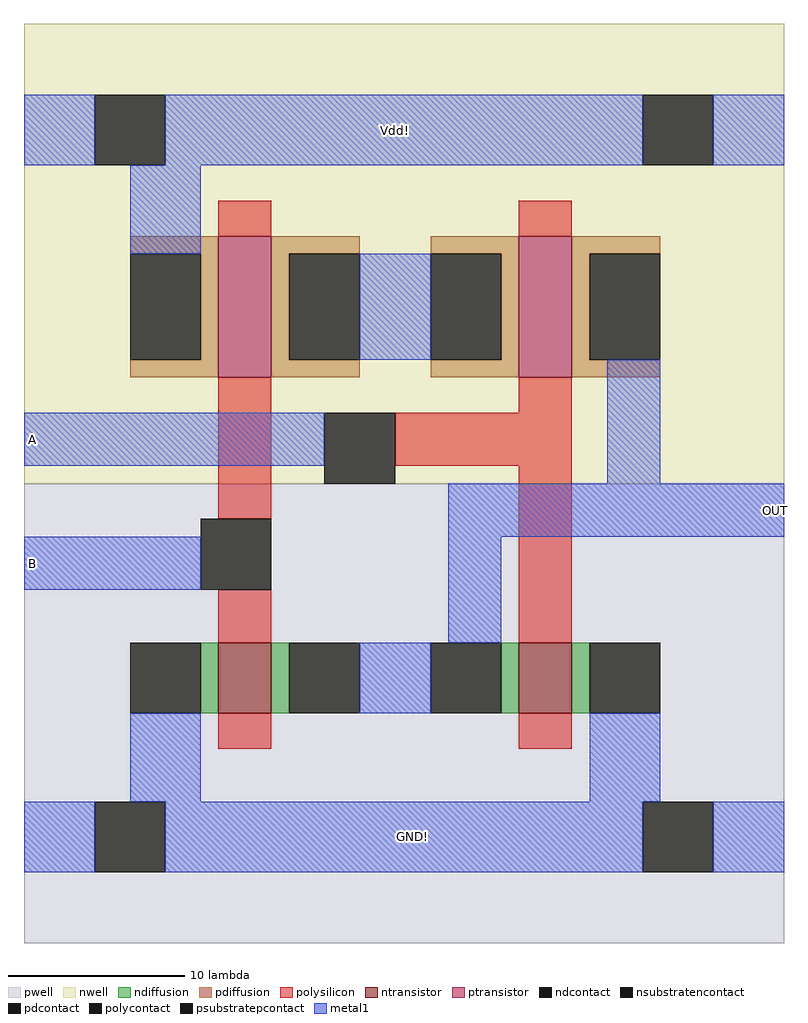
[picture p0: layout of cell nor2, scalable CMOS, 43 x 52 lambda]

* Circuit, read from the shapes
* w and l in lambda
.subckt nor2 A B GND! OUT Vdd!
M1 OUT B GND! GND! nfet w=4 l=3
M2 GND! A OUT GND! nfet w=4 l=3
M3 n1 B Vdd! Vdd! pfet w=8 l=3
M4 OUT A n1 Vdd! pfet w=8 l=3
.ends

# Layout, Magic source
magic
tech scmos
<< pwell >>
rect 0 0 43 26
<< nwell >>
rect 0 26 43 52
<< polysilicon >>
rect 11 40 14 42
rect 28 40 31 42
rect 11 24 14 32
rect 28 30 31 32
rect 21 27 31 30
rect 11 17 14 20
rect 28 17 31 27
rect 11 11 14 13
rect 28 11 31 13
<< ndiffusion >>
rect 10 13 11 17
rect 14 13 15 17
rect 27 13 28 17
rect 31 13 32 17
<< pdiffusion >>
rect 6 39 11 40
rect 10 33 11 39
rect 6 32 11 33
rect 14 39 19 40
rect 14 33 15 39
rect 14 32 19 33
rect 23 39 28 40
rect 27 33 28 39
rect 23 32 28 33
rect 31 39 36 40
rect 31 33 32 39
rect 31 32 36 33
<< metal1 >>
rect 0 44 4 48
rect 8 44 35 48
rect 39 44 43 48
rect 6 39 10 44
rect 19 33 23 39
rect 0 27 17 30
rect 33 26 36 33
rect 0 20 10 23
rect 24 23 43 26
rect 24 17 27 23
rect 19 13 23 17
rect 6 8 10 13
rect 32 8 36 13
rect 0 4 4 8
rect 8 4 35 8
rect 39 4 43 8
<< ntransistor >>
rect 11 13 14 17
rect 28 13 31 17
<< ptransistor >>
rect 11 32 14 40
rect 28 32 31 40
<< polycontact >>
rect 17 26 21 30
rect 10 20 14 24
<< ndcontact >>
rect 6 13 10 17
rect 15 13 19 17
rect 23 13 27 17
rect 32 13 36 17
<< pdcontact >>
rect 6 33 10 39
rect 15 33 19 39
rect 23 33 27 39
rect 32 33 36 39
<< psubstratepcontact >>
rect 4 4 8 8
rect 35 4 39 8
<< nsubstratencontact >>
rect 4 44 8 48
rect 35 44 39 48
<< labels >>
rlabel metal1 21 46 21 46 1 Vdd!
rlabel metal1 22 6 22 6 1 GND!
rlabel metal1 0 27 1 30 3 A
rlabel metal1 0 20 1 23 3 B
rlabel metal1 42 23 43 26 7 OUT
<< end >>
